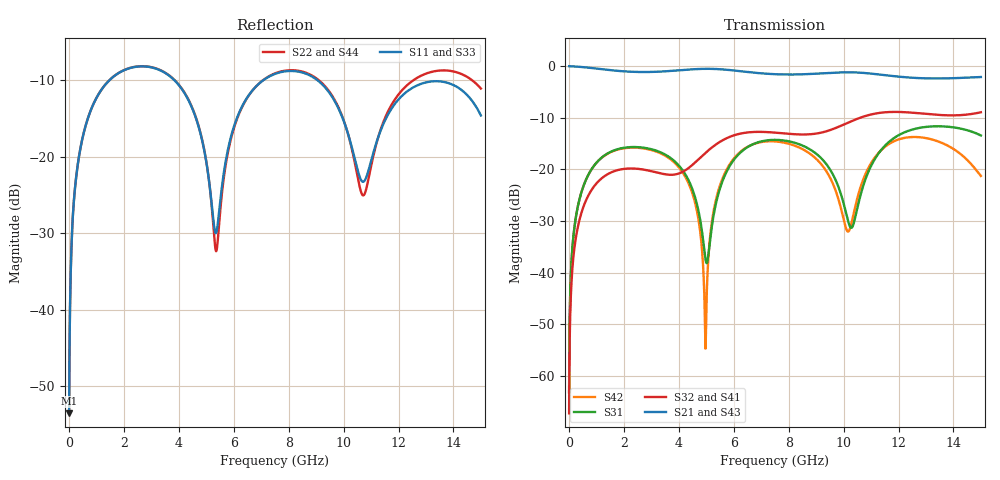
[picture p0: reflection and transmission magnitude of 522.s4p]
! Created with skrf 1.8.0 (http://scikit-rf.org).
# GHz S RI R 50.0
!freq ReS11 ImS11 ReS12 ImS12 ReS13 ImS13
! ReS14 ImS14
! ReS21 ImS21 ReS22 ImS22 ReS23 ImS23
! ReS24 ImS24
! ReS31 ImS31 ReS32 ImS32 ReS33 ImS33
! ReS34 ImS34
! ReS41 ImS41 ReS42 ImS42 ReS43 ImS43
! ReS44 ImS44
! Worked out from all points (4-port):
!   2499 points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, 5 MHz to 15 GHz, reference 50 ohm
!   strongest paths, dB at 5 MHz, 3.476 GHz, 7.19 GHz, 11.1 GHz, 15 GHz:
!     S21: 0.0, -1.0, -1.5, -1.5, -2.1
!     S43: 0.0, -1.0, -1.5, -1.5, -2.1
!     S32: -67.2, -20.9, -12.8, -9.3, -8.9
!     S41: -67.2, -20.9, -12.8, -9.2, -9.0
!     S31: -63.2, -17.0, -14.4, -18.3, -13.4
!     S42: -63.2, -17.3, -14.6, -18.0, -21.3
!   lowest |S11| = -53.6 dB at 5 MHz (marker M1), VSWR 1.00, Z = 50.2 + j0.127 ohm
!   |S11| at or under -10 dB: start of sweep to 1.474 GHz; 3.839 GHz to 7.076 GHz (3.237 GHz wide, 59.3 % of centre); 9.049 GHz to end of sweep
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0.005  0.00167 0.00127  0.9983 -0.00326  8.51e-05 0.00069  -8.25e-05 -0.000429
       0.9983 -0.00326  0.00167 0.00127  -8.25e-05 -0.000429  8.5e-05 0.00069
       8.51e-05 0.00069  -8.25e-05 -0.000429  0.00167 0.00127  0.9983 -0.00326
       -8.25e-05 -0.000429  8.5e-05 0.00069  0.9983 -0.00326  0.00167 0.00127
0.3126303  0.0249 0.0833  0.9659 -0.2025  0.012 0.0408  -0.00982 -0.0251
           0.9659 -0.2025  0.0249 0.0833  -0.00982 -0.0251  0.0117 0.0409
           0.012 0.0408  -0.00982 -0.0251  0.0249 0.0833  0.9659 -0.2025
           -0.00982 -0.0251  0.0117 0.0409  0.9659 -0.2025  0.0249 0.0832
1.569404  0.2783 0.1734  0.528 -0.741  0.1381 0.059  -0.0943 -0.0024
          0.528 -0.741  0.2795 0.1725  -0.0944 -0.00233  0.1347 0.0638
          0.1381 0.059  -0.0944 -0.00233  0.2782 0.1734  0.528 -0.7411
          -0.0943 -0.0024  0.1347 0.0638  0.528 -0.7411  0.2795 0.1725
4.970821  0.05 -0.0858  -0.895 -0.2906  -0.0121 -0.00614  -0.0404 0.1387
          -0.895 -0.2906  0.0435 -0.0904  -0.0398 0.1389  0.00184 5.64e-05
          -0.0121 -0.00614  -0.0398 0.1389  0.0487 -0.0859  -0.895 -0.2904
          -0.0404 0.1387  0.00184 5.64e-05  -0.895 -0.2904  0.0447 -0.0898
8.340975  0.3581 -0.0404  0.00875 0.8305  0.1464 -0.0993  0.2058 -0.0677
          0.00875 0.8305  0.3625 -0.0425  0.2066 -0.0704  0.1457 -0.0771
          0.1464 -0.0993  0.2066 -0.0704  0.3597 -0.0352  0.0089 0.8297
          0.2058 -0.0677  0.1457 -0.0771  0.0089 0.8297  0.3647 -0.0479
11.04835  0.0855 0.0529  0.8434 -0.0234  0.0519 0.102  -0.0263 -0.342
          0.8434 -0.0234  0.073 0.0605  -0.031 -0.3411  0.0338 0.1156
          0.0519 0.102  -0.031 -0.3411  0.0906 0.0493  0.8435 -0.0228
          -0.0263 -0.342  0.0338 0.1156  0.8435 -0.0228  0.0678 0.058
15  0.1558 -0.1018  -0.4495 -0.6422  -0.0373 -0.2098  -0.274 0.2279
    -0.4495 -0.6422  0.2127 -0.1806  -0.2705 0.2337  0.0806 -0.0315
    -0.0373 -0.2098  -0.2705 0.2337  0.1609 -0.0981  -0.4495 -0.6414
    -0.274 0.2279  0.0806 -0.0315  -0.4495 -0.6414  0.2121 -0.1861
